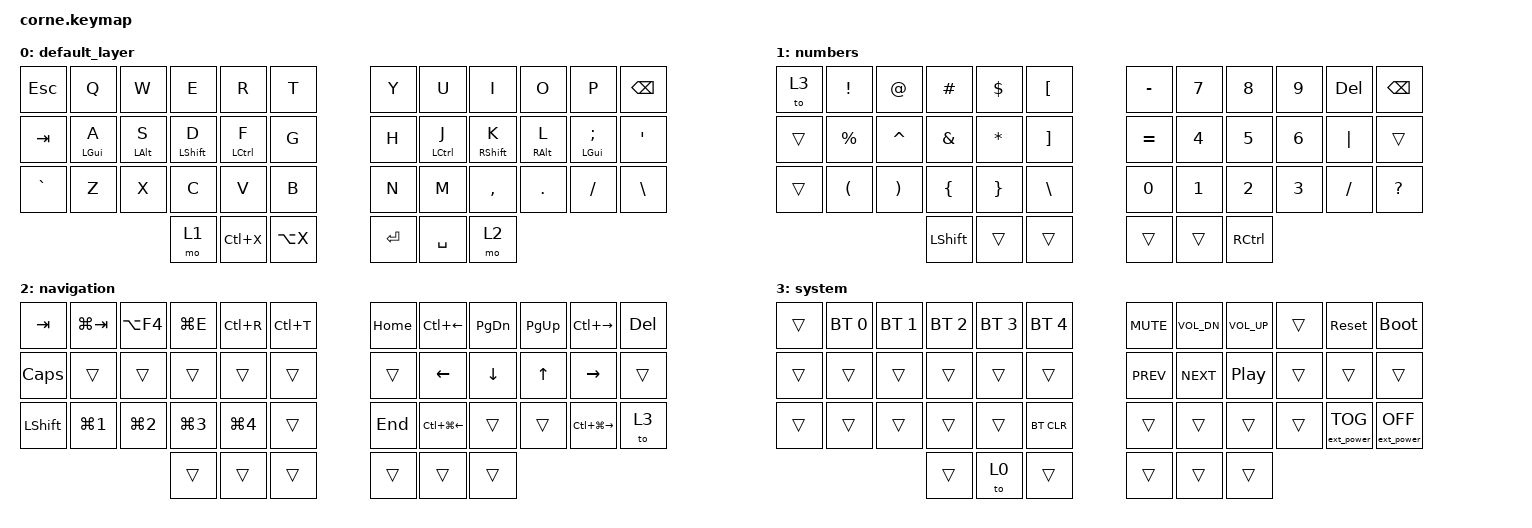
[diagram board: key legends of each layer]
/*
* Copyright (c) 2020 The ZMK Contributors
*
* SPDX-License-Identifier: MIT
*/

#include <behaviors.dtsi>
#include <dt-bindings/zmk/bt.h>
#include <dt-bindings/zmk/ext_power.h>
#include <dt-bindings/zmk/keys.h>

/ {
    behaviors {
        // Balanced homerow mods

        hm: homerow_mods {
            compatible = "zmk,behavior-hold-tap";
            label = "HOMEROW_MODS";
            #binding-cells = <2>;
            tapping-term-ms = <300>;
            quick-tap-ms = <175>;
            flavor = "balanced";
            bindings = <&kp>, <&kp>;
        };

        // Layer cycling tap dance: 0→1→2→3→4→0
        /* layer_td: layer_tap_dance { */
        /*     compatible = "zmk,behavior-tap-dance"; */
        /*     label = "LAYER_TAP_DANCE"; */
        /*     #binding-cells = <0>; */
        /*     tapping-term-ms = <300>; */
        /*     bindings = <&to 1>, <&to 2>, <&to 3>, <&to 4>, <&to 0>; */
        /* }; */
    };

    // Configure faster mouse movement - no delay, quick acceleration

    combos {
        /* compatible = "zmk,combos"; */
        /* // Common DevOps shortcuts */
        /* combo_esc { */
        /*     timeout-ms = <50>; */
        /*     key-positions = <0 1>;  // Q + W */
        /*     bindings = <&kp ESCAPE>; */
        /* }; */
        /* combo_tab { */
        /*     timeout-ms = <50>; */
        /*     key-positions = <1 2>;  // W + E */
        /*     bindings = <&kp TAB>; */
        /* }; */
        /* combo_enter { */
        /*     timeout-ms = <50>; */
        /*     key-positions = <8 9>;  // I + O */
        /*     bindings = <&kp ENTER>; */
        /* }; */
        /* combo_backspace { */
        /*     timeout-ms = <50>; */
        /*     key-positions = <9 10>; // O + P */
        /*     bindings = <&kp BACKSPACE>; */
        /* }; */
        /* // Spanish characters (useful for file paths/comments) */
        /* combo_ntilde { */
        /*     timeout-ms = <50>; */
        /*     key-positions = <19 20>; // M + comma */
        /*     bindings = <&kp RA(N)>; // ñ */
        /* }; */
    };

    keymap {
        compatible = "zmk,keymap";

        default_layer {
            // -----------------------------------------------------------------------------------------
            // |  ESC |  Q  |  W  |  E  |  R  |  T  |   |  Y  |  U   |  I  |  O  |  P  | BSPC |
            // | TAB  | A/LCTRL | S/LALT | D/LSHFT | F/LGUI | G |   | H | J/RGUI | K/RSHFT | L/RALT | ;/RCTRL | ' |
            // | CTRL |  Z  |  X  |  C  |  V  |  B  |   |  N  |  M   |  ,  |  .  |  /  | ` |
            //                    | DEL | LYR | SPC |   | RET | ALT  | CTL |

            bindings = <
&kp ESCAPE  &kp Q           &kp W           &kp E        &kp R               &kp T        &kp Y      &kp U               &kp I        &kp O       &kp P              &kp BACKSPACE
&kp TAB     &hm LEFT_GUI A  &hm LEFT_ALT S  &hm LSHFT D  &hm LEFT_CONTROL F  &kp G        &kp H      &hm LEFT_CONTROL J  &hm RSHFT K  &hm RALT L  &hm LEFT_GUI SEMI  &kp SINGLE_QUOTE
&kp GRAVE   &kp Z           &kp X           &kp C        &kp V               &kp B        &kp N      &kp M               &kp COMMA    &kp DOT     &kp FSLH           &kp BACKSLASH
                                            &mo 1        &kp LC(X)           &kp LA(X)    &kp ENTER  &kp SPACE           &mo 2
            >;
        };

        numbers {
            // -----------------------------------------------------------------------------------------
            // |  `   |  !  |  @  |  #  |  $  |  %  |   |  ^  |  &  |  *  |  (  |  )  |  -   |
            // |  -   |  1  |  2  |  3  |  4  |  5  |   |  6  |  7  |  8  |  9  |  0  |  =   |
            // | SHFT |  [  |  ]  |  {  |  }  |  \  |   |  -  |  _  |  +  |  |  |  /  |  ?   |
            //                    |  -  | LYR |  -  |   |  -  |  -  |  -  |

            bindings = <
&to 3   &kp EXCLAMATION       &kp AT_SIGN            &kp POUND       &kp DOLLAR       &kp LEFT_BRACKET     &kp MINUS  &kp N7        &kp N8        &kp N9        &kp DELETE  &kp BACKSPACE
&trans  &kp PERCENT           &kp CARET              &kp AMPERSAND   &kp ASTERISK     &kp RIGHT_BRACKET    &kp EQUAL  &kp NUMBER_4  &kp N5        &kp NUMBER_6  &kp PIPE    &trans
&trans  &kp LEFT_PARENTHESIS  &kp RIGHT_PARENTHESIS  &kp LEFT_BRACE  &kp RIGHT_BRACE  &kp BACKSLASH        &kp N0     &kp NUMBER_1  &kp NUMBER_2  &kp NUMBER_3  &kp FSLH    &kp QUESTION
                                                     &kp LEFT_SHIFT  &trans           &trans               &trans     &trans        &kp RCTRL
            >;
        };

        navigation {
            // -----------------------------------------------------------------------------------------
            // | TAB  |CMD+TAB| ALT+F4| WIN+E| WIN+R | WIN+T|   |PGUP | HOME|  UP  | END  | PRNT | DEL  |
            // |CAPS  | WIN+1 | WIN+2 | WIN+3| WIN+4 | WIN+G|   |PGDN | LEFT| DOWN |RIGHT | WIN↑ | WIN↵ |
            // |SHIFT | UNDO  | CUT   | COPY | PASTE | WIN+L|   |WIN← |CTRL←|CTRL→ |WIN→  | ALT← | ALT→ |
            //                        |  -  | LYR   |  -   |   |  -  |  -  |  -   |

            bindings = <
&kp TAB    &kp LG(TAB)       &kp LA(F4)        &kp LG(E)         &kp LC(R)         &kp LC(T)    &kp HOME  &kp LC(LEFT)      &kp PAGE_DOWN   &kp PAGE_UP   &kp LC(RIGHT)      &kp DELETE
&kp CAPS   &trans            &trans            &trans            &trans            &trans       &trans    &kp LEFT_ARROW    &kp DOWN_ARROW  &kp UP_ARROW  &kp RIGHT          &trans
&kp LSHFT  &kp LG(NUMBER_1)  &kp LG(NUMBER_2)  &kp LG(NUMBER_3)  &kp LG(NUMBER_4)  &trans       &kp END   &kp LC(LG(LEFT))  &trans          &trans        &kp LC(LG(RIGHT))  &to 3
                                               &trans            &trans            &trans       &trans    &trans            &trans
            >;
        };

        system {
            // -----------------------------------------------------------------------------------------
            // |      | BT1 | BT2 | BT3 | BT4 | BT5 |   |MUTE |VOL- |VOL+ |RGBTOG|RESET |BOOTLD|
            // |      |RGBBR+|RGBBR-|RGBHU+|RGBHU-|RGBSA+|PREV |NEXT |PLAY |RGBSA-|RGBEF+|RGBEF-|
            // |      |     |     |     |     |BTCLR|     |     |     |     | EPTOG| EPOFF|
            //                    |  -  | LYR |  -  |   |  -  |  -  |  -  |

            bindings = <
&trans  &bt BT_SEL 0  &bt BT_SEL 1  &bt BT_SEL 2  &bt BT_SEL 3  &bt BT_SEL 4    &kp C_MUTE  &kp C_VOL_DN  &kp C_VOL_UP  &trans  &sys_reset         &bootloader
&trans  &trans        &trans        &trans        &trans        &trans          &kp C_PREV  &kp C_NEXT    &kp C_PP      &trans  &trans             &trans
&trans  &trans        &trans        &trans        &trans        &bt BT_CLR      &trans      &trans        &trans        &trans  &ext_power EP_TOG  &ext_power EP_OFF
                                    &trans        &to 0         &trans          &trans      &trans        &trans
            >;
        };
    };
};
